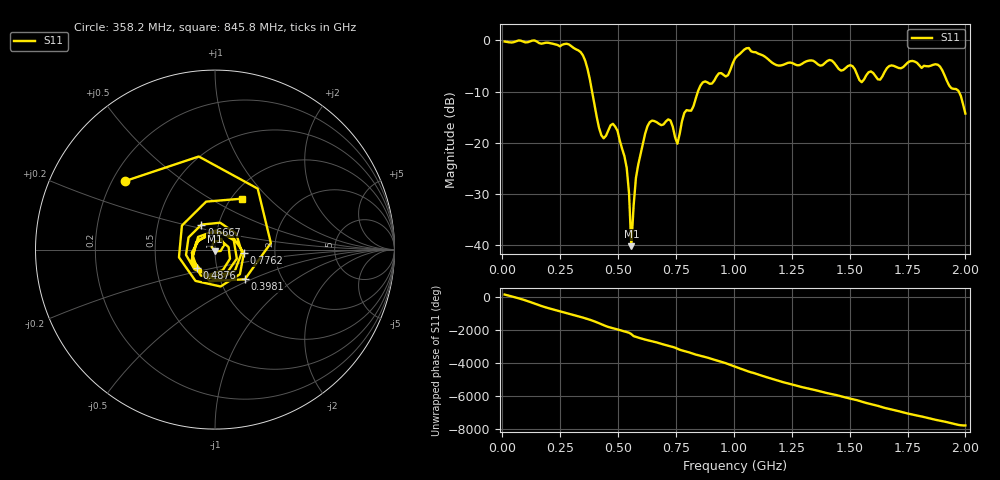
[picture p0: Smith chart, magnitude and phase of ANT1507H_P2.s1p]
!Created with skrf (http://scikit-rf.org).
# Hz S RI R 50.0
!freq ReS11 ImS11
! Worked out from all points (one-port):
!   201 points, 10 MHz to 2 GHz, reference 50 ohm
!   lowest |S11| = -40.3 dB at 557.2 MHz (marker M1), VSWR 1.02, Z = 49.9 - j0.959 ohm
!   |S11| at or under -10 dB: 387.8 MHz to 844.9 MHz (457.1 MHz wide, 74.2 % of centre); 1.972 GHz to end of sweep
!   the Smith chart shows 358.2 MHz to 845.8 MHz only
!   S11 on the Smith chart (normalised r, x): 358.2 MHz: 0.25, +0.32; 398.1 MHz: 1.31, -0.46; 487.6 MHz: 0.80, -0.17; 666.7 MHz: 0.83, +0.24; 776.1 MHz: 1.38, -0.06; 845.8 MHz: 1.12, +0.71
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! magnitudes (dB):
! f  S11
! 10 MHz  -0.2
! 258.8 MHz  -0.8
! 358.2 MHz  -4.0
! 398.1 MHz  -12.6
! 437.9 MHz  -19.2
! 487.6 MHz  -16.9
! 507.5 MHz  -19.6
! 537.4 MHz  -25.0
! 547.3 MHz  -29.9
! 557.2 MHz  -40.3
! 577.1 MHz  -26.9
! 587.1 MHz  -24.3
! 626.9 MHz  -16.8
! 666.7 MHz  -16.0
! 726.4 MHz  -15.7
! 756.2 MHz  -20.2
! 776.1 MHz  -15.8
! 845.8 MHz  -9.9
! 975.1 MHz  -6.8
! 1.005 GHz  -3.5
! 1.065 GHz  -1.5
! 1.254 GHz  -4.4
! 1.502 GHz  -4.8
! 1.552 GHz  -8.2
! 1.751 GHz  -4.3
! 1.891 GHz  -5.1
! 1.97 GHz  -9.9
! 2 GHz  -14.3
